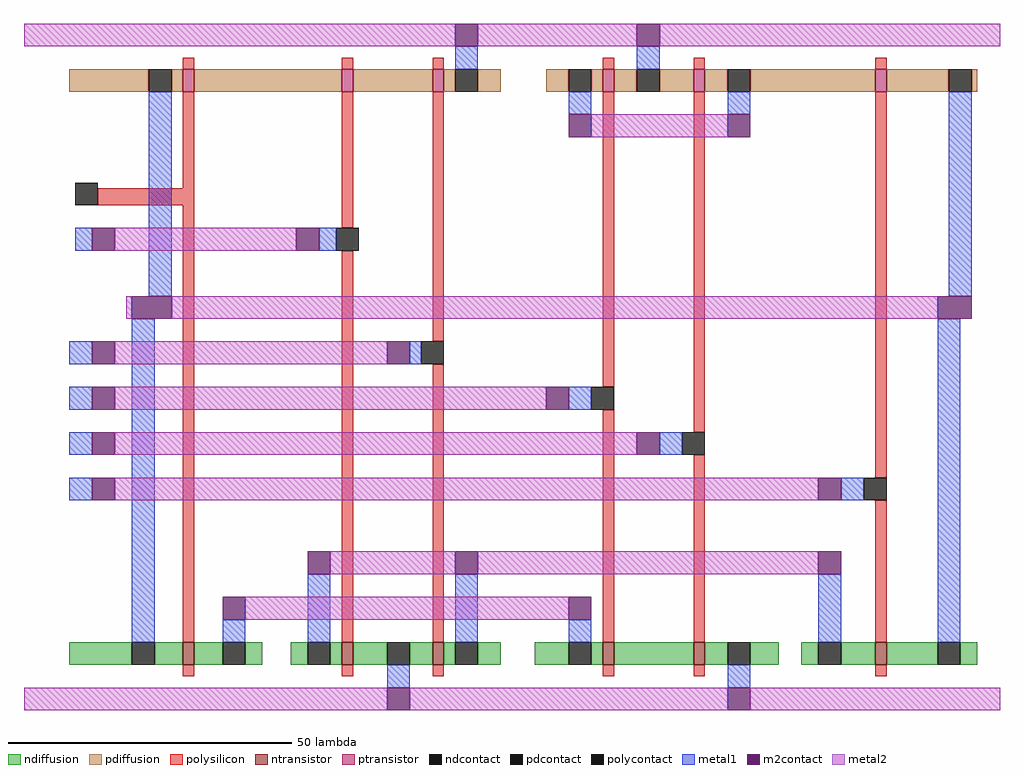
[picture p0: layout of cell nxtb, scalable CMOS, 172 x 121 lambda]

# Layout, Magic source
magic
tech scmos
<< polysilicon >>
rect 12 104 14 106
rect 40 104 42 106
rect 56 104 58 106
rect 86 104 88 106
rect 102 104 104 106
rect 134 104 136 106
rect 12 83 14 100
rect -3 80 14 83
rect 12 3 14 80
rect 40 76 42 100
rect 40 3 42 72
rect 56 56 58 100
rect 56 3 58 52
rect 86 48 88 100
rect 86 3 88 44
rect 102 40 104 100
rect 102 3 104 36
rect 134 32 136 100
rect 134 3 136 28
rect 12 -3 14 -1
rect 40 -3 42 -1
rect 56 -3 58 -1
rect 86 -3 88 -1
rect 102 -3 104 -1
rect 134 -3 136 -1
<< ndiffusion >>
rect -8 -1 3 3
rect 7 -1 12 3
rect 14 -1 19 3
rect 23 -1 26 3
rect 31 -1 34 3
rect 38 -1 40 3
rect 42 -1 48 3
rect 52 -1 56 3
rect 58 -1 60 3
rect 64 -1 68 3
rect 74 -1 80 3
rect 84 -1 86 3
rect 88 -1 102 3
rect 104 -1 108 3
rect 112 -1 117 3
rect 121 -1 124 3
rect 128 -1 134 3
rect 136 -1 145 3
rect 149 -1 152 3
<< pdiffusion >>
rect -8 100 6 104
rect 10 100 12 104
rect 14 100 40 104
rect 42 100 56 104
rect 58 100 60 104
rect 64 100 68 104
rect 76 100 80 104
rect 84 100 86 104
rect 88 100 92 104
rect 96 100 102 104
rect 104 100 108 104
rect 112 100 134 104
rect 136 100 147 104
rect 151 100 152 104
<< metal1 >>
rect 60 104 64 108
rect 92 104 96 108
rect -7 72 -4 76
rect 6 64 10 100
rect 80 96 84 100
rect 108 96 112 100
rect 36 72 39 76
rect 147 64 151 100
rect -8 52 -4 56
rect -8 44 -4 48
rect -8 36 -4 40
rect -8 28 -4 32
rect 3 3 7 60
rect 52 52 54 56
rect 80 44 84 48
rect 96 36 100 40
rect 128 28 132 32
rect 19 3 23 7
rect 34 3 38 15
rect 60 3 64 15
rect 80 3 84 7
rect 124 3 128 15
rect 145 3 149 60
rect 48 -5 52 -1
rect 108 -5 112 -1
<< metal2 >>
rect -16 108 60 112
rect 64 108 92 112
rect 96 108 156 112
rect 84 92 108 96
rect 0 72 32 76
rect 2 60 3 64
rect 10 60 145 64
rect 0 52 48 56
rect 0 44 76 48
rect 0 36 92 40
rect 0 28 124 32
rect 38 15 60 19
rect 64 15 124 19
rect 23 7 80 11
rect -16 -9 48 -5
rect 52 -9 108 -5
rect 112 -9 156 -5
<< ntransistor >>
rect 12 -1 14 3
rect 40 -1 42 3
rect 56 -1 58 3
rect 86 -1 88 3
rect 102 -1 104 3
rect 134 -1 136 3
<< ptransistor >>
rect 12 100 14 104
rect 40 100 42 104
rect 56 100 58 104
rect 86 100 88 104
rect 102 100 104 104
rect 134 100 136 104
<< polycontact >>
rect -7 80 -3 84
rect 39 72 43 76
rect 54 52 58 56
rect 84 44 88 48
rect 100 36 104 40
rect 132 28 136 32
<< ndcontact >>
rect 3 -1 7 3
rect 19 -1 23 3
rect 34 -1 38 3
rect 48 -1 52 3
rect 60 -1 64 3
rect 80 -1 84 3
rect 108 -1 112 3
rect 124 -1 128 3
rect 145 -1 149 3
<< pdcontact >>
rect 6 100 10 104
rect 60 100 64 104
rect 80 100 84 104
rect 92 100 96 104
rect 108 100 112 104
rect 147 100 151 104
<< m2contact >>
rect 60 108 64 112
rect 92 108 96 112
rect -4 72 0 76
rect 80 92 84 96
rect 108 92 112 96
rect 32 72 36 76
rect 3 60 10 64
rect 145 60 151 64
rect -4 52 0 56
rect -4 44 0 48
rect -4 36 0 40
rect -4 28 0 32
rect 48 52 52 56
rect 76 44 80 48
rect 92 36 96 40
rect 124 28 128 32
rect 34 15 38 19
rect 19 7 23 11
rect 60 15 64 19
rect 124 15 128 19
rect 80 7 84 11
rect 48 -9 52 -5
rect 108 -9 112 -5
<< end >>
